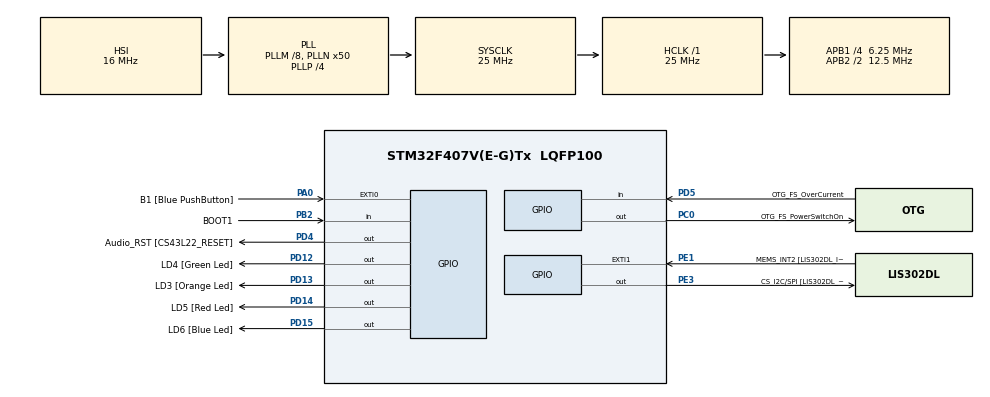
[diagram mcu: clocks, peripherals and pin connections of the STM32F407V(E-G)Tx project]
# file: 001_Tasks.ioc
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Mcu.Family=STM32F4
Mcu.Name=STM32F407V(E-G)Tx
Mcu.Package=LQFP100
NVIC.PriorityGroup=NVIC_PRIORITYGROUP_4
NVIC.TIM6_DAC_IRQn=true\:0\:0\:false\:false\:true\:false\:true\:true
NVIC.TimeBase=TIM6_DAC_IRQn
NVIC.TimeBaseIP=TIM6
PA0-WKUP.GPIO_Label=B1 [Blue PushButton]
PA0-WKUP.Signal=GPXTI0
PA10.GPIO_Label=OTG_FS_ID
PA10.GPIO_Mode=GPIO_MODE_AF_PP
PA10.GPIO_PuPd=GPIO_NOPULL
PA10.GPIO_Speed=GPIO_SPEED_FREQ_LOW
PA10.Signal=USB_OTG_FS_ID
PA11.GPIO_Label=OTG_FS_DM
PA11.GPIO_Mode=GPIO_MODE_AF_PP
PA11.GPIO_PuPd=GPIO_NOPULL
PA11.GPIO_Speed=GPIO_SPEED_FREQ_LOW
PA11.Signal=USB_OTG_FS_DM
PA12.GPIO_Label=OTG_FS_DP
PA12.GPIO_Mode=GPIO_MODE_AF_PP
PA12.GPIO_PuPd=GPIO_NOPULL
PA12.GPIO_Speed=GPIO_SPEED_FREQ_LOW
PA12.Signal=USB_OTG_FS_DP
PA13.GPIO_Label=SWDIO
PA13.Signal=SYS_JTMS-SWDIO
PA14.GPIO_Label=SWCLK
PA14.Signal=SYS_JTCK-SWCLK
PA4.GPIO_Label=I2S3_WS [CS43L22_LRCK]
PA4.GPIO_Mode=GPIO_MODE_AF_PP
PA4.GPIO_PuPd=GPIO_NOPULL
PA4.GPIO_Speed=GPIO_SPEED_FREQ_LOW
PA4.Signal=I2S3_WS
PA5.GPIO_Label=SPI1_SCK [LIS302DL_SCL/SPC]
PA5.GPIO_Mode=GPIO_MODE_AF_PP
PA5.GPIO_PuPd=GPIO_NOPULL
PA5.GPIO_Speed=GPIO_SPEED_FREQ_LOW
PA5.Signal=SPI1_SCK
PA6.GPIO_Label=SPI1_MISO [LIS302DL_SDO]
PA6.GPIO_Mode=GPIO_MODE_AF_PP
PA6.GPIO_PuPd=GPIO_NOPULL
PA6.GPIO_Speed=GPIO_SPEED_FREQ_LOW
PA6.Signal=SPI1_MISO
PA7.GPIO_Label=SPI1_MOSI [LIS302DL_SDA/SDI/SDO]
PA7.GPIO_Mode=GPIO_MODE_AF_PP
PA7.GPIO_PuPd=GPIO_NOPULL
PA7.GPIO_Speed=GPIO_SPEED_FREQ_LOW
PA7.Signal=SPI1_MOSI
PA9.GPIO_Label=VBUS_FS
PA9.GPIO_Mode=GPIO_MODE_INPUT
PA9.GPIO_PuPd=GPIO_NOPULL
PA9.Signal=USB_OTG_FS_VBUS
PB10.GPIO_Label=CLK_IN [MP45DT02_CLK]
PB10.GPIO_Mode=GPIO_MODE_AF_PP
PB10.GPIO_PuPd=GPIO_NOPULL
PB10.GPIO_Speed=GPIO_SPEED_FREQ_LOW
PB10.Signal=I2S2_CK
PB2.GPIO_Label=BOOT1
PB2.GPIO_Mode=GPIO_MODE_INPUT
PB2.GPIO_PuPd=GPIO_NOPULL
PB2.Signal=GPIO_Input
PB3.GPIO_Label=SWO
PB3.Signal=SYS_JTDO-SWO
PB6.GPIO_Label=Audio_SCL [CS43L22_SCL]
PB6.GPIO_Mode=GPIO_MODE_AF_OD
PB6.GPIO_PuPd=GPIO_NOPULL
PB6.GPIO_Speed=GPIO_SPEED_FREQ_LOW
PB6.Signal=I2C1_SCL
PB9.GPIO_Label=Audio_SDA [CS43L22_SDA]
PB9.GPIO_Mode=GPIO_MODE_AF_OD
PB9.GPIO_PuPd=GPIO_NOPULL
PB9.GPIO_Speed=GPIO_SPEED_FREQ_LOW
PB9.Signal=I2C1_SDA
PC0.GPIO_Label=OTG_FS_PowerSwitchOn
PC0.GPIO_PuPd=GPIO_NOPULL
PC0.GPIO_Speed=GPIO_SPEED_FREQ_LOW
PC0.PinState=GPIO_PIN_SET
PC0.Signal=GPIO_Output
PC10.GPIO_Label=I2S3_SCK [CS43L22_SCLK]
PC10.GPIO_Mode=GPIO_MODE_AF_PP
PC10.GPIO_PuPd=GPIO_NOPULL
PC10.GPIO_Speed=GPIO_SPEED_FREQ_LOW
PC10.Signal=I2S3_CK
PC12.GPIO_Label=I2S3_SD [CS43L22_SDIN]
PC12.GPIO_Mode=GPIO_MODE_AF_PP
PC12.GPIO_PuPd=GPIO_NOPULL
PC12.GPIO_Speed=GPIO_SPEED_FREQ_LOW
PC12.Signal=I2S3_SD
PC14-OSC32_IN.GPIO_Label=PC14-OSC32_IN
PC14-OSC32_IN.Signal=RCC_OSC32_IN
PC15-OSC32_OUT.GPIO_Label=PC15-OSC32_OUT
PC15-OSC32_OUT.Signal=RCC_OSC32_OUT
PC3.GPIO_Label=PDM_OUT [MP45DT02_DOUT]
PC3.GPIO_Mode=GPIO_MODE_AF_PP
PC3.GPIO_PuPd=GPIO_NOPULL
PC3.GPIO_Speed=GPIO_SPEED_FREQ_LOW
PC3.Signal=I2S2_SD
PC7.GPIO_Label=I2S3_MCK [CS43L22_MCLK]
PC7.GPIO_Mode=GPIO_MODE_AF_PP
PC7.GPIO_PuPd=GPIO_NOPULL
PC7.GPIO_Speed=GPIO_SPEED_FREQ_LOW
PC7.Signal=I2S3_MCK
PD12.GPIO_Label=LD4 [Green Led]
PD12.GPIO_PuPd=GPIO_NOPULL
PD12.GPIO_Speed=GPIO_SPEED_FREQ_LOW
PD12.Signal=GPIO_Output
PD13.GPIO_Label=LD3 [Orange Led]
PD13.GPIO_PuPd=GPIO_NOPULL
PD13.GPIO_Speed=GPIO_SPEED_FREQ_LOW
PD13.Signal=GPIO_Output
PD14.GPIO_Label=LD5 [Red Led]
PD14.GPIO_PuPd=GPIO_NOPULL
PD14.GPIO_Speed=GPIO_SPEED_FREQ_LOW
PD14.Signal=GPIO_Output
PD15.GPIO_Label=LD6 [Blue Led]
PD15.GPIO_PuPd=GPIO_NOPULL
PD15.GPIO_Speed=GPIO_SPEED_FREQ_LOW
PD15.Signal=GPIO_Output
PD4.GPIO_Label=Audio_RST [CS43L22_RESET]
PD4.GPIO_PuPd=GPIO_NOPULL
PD4.GPIO_Speed=GPIO_SPEED_FREQ_LOW
PD4.Signal=GPIO_Output
PD5.GPIO_Label=OTG_FS_OverCurrent
PD5.GPIO_Mode=GPIO_MODE_INPUT
PD5.GPIO_PuPd=GPIO_NOPULL
PD5.Signal=GPIO_Input
PE1.GPIO_Label=MEMS_INT2 [LIS302DL_INT2]
PE1.GPIO_ModeDefaultEXTI=GPIO_MODE_EVT_RISING
PE1.GPIO_PuPd=GPIO_NOPULL
PE1.Signal=GPXTI1
PE3.GPIO_Label=CS_I2C/SPI [LIS302DL_CS_I2C/SPI]
PE3.GPIO_PuPd=GPIO_NOPULL
PE3.GPIO_Speed=GPIO_SPEED_FREQ_LOW
PE3.Signal=GPIO_Output
PH0-OSC_IN.GPIO_Label=PH0-OSC_IN
PH0-OSC_IN.Signal=RCC_OSC_IN
PH1-OSC_OUT.GPIO_Label=PH1-OSC_OUT
PH1-OSC_OUT.Signal=RCC_OSC_OUT
ProjectManager.HeapSize=0x200
ProjectManager.StackSize=0x400
ProjectManager.TargetToolchain=STM32CubeIDE
RCC.48MHZClocksFreq_Value=14285714.285714285
RCC.AHBFreq_Value=25000000
RCC.APB1CLKDivider=RCC_HCLK_DIV4
RCC.APB1Freq_Value=6250000
RCC.APB1TimFreq_Value=12500000
RCC.APB2CLKDivider=RCC_HCLK_DIV2
RCC.APB2Freq_Value=12500000
RCC.APB2TimFreq_Value=25000000
RCC.CortexFreq_Value=25000000
RCC.HCLKFreq_Value=25000000
RCC.HSE_VALUE=8000000
RCC.HSI_VALUE=16000000
RCC.LSE_VALUE=32768
RCC.PLLM=8
RCC.PLLN=50
RCC.PLLP=RCC_PLLP_DIV4
RCC.PLLQ=7
RCC.SYSCLKFreq_VALUE=25000000
RCC.SYSCLKSource=RCC_SYSCLKSOURCE_PLLCLK
RCC.VCOOutputFreq_Value=100000000
VP_SYS_VS_tim6.Mode=TIM6
board=STM32F407G-DISC1

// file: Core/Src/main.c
/* USER CODE BEGIN Header */
/**
  ******************************************************************************
  * @file           : main.c
  * @brief          : Main program body
  ******************************************************************************
  * @attention
  *
  * Copyright (c) 2026 STMicroelectronics.
  * All rights reserved.
  *
  * This software is licensed under terms that can be found in the LICENSE file
  * in the root directory of this software component.
  * If no LICENSE file comes with this software, it is provided AS-IS.
  *
  ******************************************************************************
  */
/* USER CODE END Header */
#include "main.h"

/* USER CODE BEGIN Includes */
#include<stdio.h>
#include "FreeRTOS.h"
#include "task.h"
#include "SEGGER_SYSVIEW.h"
/* USER CODE END Includes */

/* USER CODE BEGIN PV */

#define DWT_CTRL	(*(volatile uint32_t*)0xE0001000)

/* USER CODE END PV */

void SystemClock_Config(void);
static void MX_GPIO_Init(void);
/* USER CODE BEGIN PFP */
static void task1_handler(void* parameters);
static void task2_handler(void* parameters);
/* USER CODE END PFP */

int main(void)
{

  /* USER CODE BEGIN 1 */
	TaskHandle_t task1_handle = NULL;
	TaskHandle_t task2_handle = NULL;

	BaseType_t status;
  /* USER CODE END 1 */

  /* MCU Configuration--------------------------------------------------------*/

  /* Reset of all peripherals, Initializes the Flash interface and the Systick. */
  HAL_Init();

  /* Configure the system clock */
  SystemClock_Config();

  /* Initialize all configured peripherals */
  MX_GPIO_Init();
  /* USER CODE BEGIN 2 */
  // Enable the CYCCNT counter

  DWT_CTRL |= (1 << 0);

  SEGGER_SYSVIEW_Conf();

  SEGGER_SYSVIEW_Start();

  status = xTaskCreate(task1_handler, "Task1", 200, "Hello world from Task-1", 2, &task1_handle);

  configASSERT(status == pdPASS);

  status = xTaskCreate(task2_handler, "Task2", 200, "Hello world from Task-2", 2, &task2_handle);

  configASSERT(status == pdPASS);

  //start the freeRTOS scheduler
  vTaskStartScheduler();

  //if the control comes here, then launch of the scheduler has failed due to insufficient memory
  // in the heap

  /* USER CODE END 2 */

  /* Infinite loop */
  while (1)
  {

  }
}

void SystemClock_Config(void)
{
  RCC_OscInitTypeDef RCC_OscInitStruct = {0};
  RCC_ClkInitTypeDef RCC_ClkInitStruct = {0};

  /** Configure the main internal regulator output voltage
  */
  __HAL_RCC_PWR_CLK_ENABLE();
  __HAL_PWR_VOLTAGESCALING_CONFIG(PWR_REGULATOR_VOLTAGE_SCALE1);

  /** Initializes the RCC Oscillators according to the specified parameters
  * in the RCC_OscInitTypeDef structure.
  */
  RCC_OscInitStruct.OscillatorType = RCC_OSCILLATORTYPE_HSI;
  RCC_OscInitStruct.HSIState = RCC_HSI_ON;
  RCC_OscInitStruct.HSICalibrationValue = RCC_HSICALIBRATION_DEFAULT;
  RCC_OscInitStruct.PLL.PLLState = RCC_PLL_ON;
  RCC_OscInitStruct.PLL.PLLSource = RCC_PLLSOURCE_HSI;
  RCC_OscInitStruct.PLL.PLLM = 8;
  RCC_OscInitStruct.PLL.PLLN = 50;
  RCC_OscInitStruct.PLL.PLLP = RCC_PLLP_DIV4;
  RCC_OscInitStruct.PLL.PLLQ = 7;
  if (HAL_RCC_OscConfig(&RCC_OscInitStruct) != HAL_OK)
  {
    Error_Handler();
  }

  /** Initializes the CPU, AHB and APB buses clocks
  */
  RCC_ClkInitStruct.ClockType = RCC_CLOCKTYPE_HCLK|RCC_CLOCKTYPE_SYSCLK
                              |RCC_CLOCKTYPE_PCLK1|RCC_CLOCKTYPE_PCLK2;
  RCC_ClkInitStruct.SYSCLKSource = RCC_SYSCLKSOURCE_PLLCLK;
  RCC_ClkInitStruct.AHBCLKDivider = RCC_SYSCLK_DIV1;
  RCC_ClkInitStruct.APB1CLKDivider = RCC_HCLK_DIV4;
  RCC_ClkInitStruct.APB2CLKDivider = RCC_HCLK_DIV2;

  if (HAL_RCC_ClockConfig(&RCC_ClkInitStruct, FLASH_LATENCY_0) != HAL_OK)
  {
    Error_Handler();
  }
}

static void MX_GPIO_Init(void)
{
  GPIO_InitTypeDef GPIO_InitStruct = {0};

  /* GPIO Ports Clock Enable */
  __HAL_RCC_GPIOE_CLK_ENABLE();
  __HAL_RCC_GPIOC_CLK_ENABLE();
  __HAL_RCC_GPIOH_CLK_ENABLE();
  __HAL_RCC_GPIOA_CLK_ENABLE();
  __HAL_RCC_GPIOB_CLK_ENABLE();
  __HAL_RCC_GPIOD_CLK_ENABLE();

  /*Configure GPIO pin Output Level */
  HAL_GPIO_WritePin(CS_I2C_SPI_GPIO_Port, CS_I2C_SPI_Pin, GPIO_PIN_RESET);

  /*Configure GPIO pin Output Level */
  HAL_GPIO_WritePin(OTG_FS_PowerSwitchOn_GPIO_Port, OTG_FS_PowerSwitchOn_Pin, GPIO_PIN_SET);

  /*Configure GPIO pin Output Level */
  HAL_GPIO_WritePin(GPIOD, LD4_Pin|LD3_Pin|LD5_Pin|LD6_Pin
                          |Audio_RST_Pin, GPIO_PIN_RESET);

  /*Configure GPIO pin : CS_I2C_SPI_Pin */
  GPIO_InitStruct.Pin = CS_I2C_SPI_Pin;
  GPIO_InitStruct.Mode = GPIO_MODE_OUTPUT_PP;
  GPIO_InitStruct.Pull = GPIO_NOPULL;
  GPIO_InitStruct.Speed = GPIO_SPEED_FREQ_LOW;
  HAL_GPIO_Init(CS_I2C_SPI_GPIO_Port, &GPIO_InitStruct);

  /*Configure GPIO pin : OTG_FS_PowerSwitchOn_Pin */
  GPIO_InitStruct.Pin = OTG_FS_PowerSwitchOn_Pin;
  GPIO_InitStruct.Mode = GPIO_MODE_OUTPUT_PP;
  GPIO_InitStruct.Pull = GPIO_NOPULL;
  GPIO_InitStruct.Speed = GPIO_SPEED_FREQ_LOW;
  HAL_GPIO_Init(OTG_FS_PowerSwitchOn_GPIO_Port, &GPIO_InitStruct);

  /*Configure GPIO pin : PDM_OUT_Pin */
  GPIO_InitStruct.Pin = PDM_OUT_Pin;
  GPIO_InitStruct.Mode = GPIO_MODE_AF_PP;
  GPIO_InitStruct.Pull = GPIO_NOPULL;
  GPIO_InitStruct.Speed = GPIO_SPEED_FREQ_LOW;
  GPIO_InitStruct.Alternate = GPIO_AF5_SPI2;
  HAL_GPIO_Init(PDM_OUT_GPIO_Port, &GPIO_InitStruct);

  /*Configure GPIO pin : B1_Pin */
  GPIO_InitStruct.Pin = B1_Pin;
  GPIO_InitStruct.Mode = GPIO_MODE_IT_RISING;
  GPIO_InitStruct.Pull = GPIO_NOPULL;
  HAL_GPIO_Init(B1_GPIO_Port, &GPIO_InitStruct);

  /*Configure GPIO pin : I2S3_WS_Pin */
  GPIO_InitStruct.Pin = I2S3_WS_Pin;
  GPIO_InitStruct.Mode = GPIO_MODE_AF_PP;
  GPIO_InitStruct.Pull = GPIO_NOPULL;
  GPIO_InitStruct.Speed = GPIO_SPEED_FREQ_LOW;
  GPIO_InitStruct.Alternate = GPIO_AF6_SPI3;
  HAL_GPIO_Init(I2S3_WS_GPIO_Port, &GPIO_InitStruct);

  /*Configure GPIO pins : SPI1_SCK_Pin SPI1_MISO_Pin SPI1_MOSI_Pin */
  GPIO_InitStruct.Pin = SPI1_SCK_Pin|SPI1_MISO_Pin|SPI1_MOSI_Pin;
  GPIO_InitStruct.Mode = GPIO_MODE_AF_PP;
  GPIO_InitStruct.Pull = GPIO_NOPULL;
  GPIO_InitStruct.Speed = GPIO_SPEED_FREQ_LOW;
  GPIO_InitStruct.Alternate = GPIO_AF5_SPI1;
  HAL_GPIO_Init(GPIOA, &GPIO_InitStruct);

  /*Configure GPIO pin : BOOT1_Pin */
  GPIO_InitStruct.Pin = BOOT1_Pin;
  GPIO_InitStruct.Mode = GPIO_MODE_INPUT;
  GPIO_InitStruct.Pull = GPIO_NOPULL;
  HAL_GPIO_Init(BOOT1_GPIO_Port, &GPIO_InitStruct);

  /*Configure GPIO pin : CLK_IN_Pin */
  GPIO_InitStruct.Pin = CLK_IN_Pin;
  GPIO_InitStruct.Mode = GPIO_MODE_AF_PP;
  GPIO_InitStruct.Pull = GPIO_NOPULL;
  GPIO_InitStruct.Speed = GPIO_SPEED_FREQ_LOW;
  GPIO_InitStruct.Alternate = GPIO_AF5_SPI2;
  HAL_GPIO_Init(CLK_IN_GPIO_Port, &GPIO_InitStruct);

  /*Configure GPIO pins : LD4_Pin LD3_Pin LD5_Pin LD6_Pin
                           Audio_RST_Pin */
  GPIO_InitStruct.Pin = LD4_Pin|LD3_Pin|LD5_Pin|LD6_Pin
                          |Audio_RST_Pin;
  GPIO_InitStruct.Mode = GPIO_MODE_OUTPUT_PP;
  GPIO_InitStruct.Pull = GPIO_NOPULL;
  GPIO_InitStruct.Speed = GPIO_SPEED_FREQ_LOW;
  HAL_GPIO_Init(GPIOD, &GPIO_InitStruct);

  /*Configure GPIO pins : I2S3_MCK_Pin I2S3_SCK_Pin I2S3_SD_Pin */
  GPIO_InitStruct.Pin = I2S3_MCK_Pin|I2S3_SCK_Pin|I2S3_SD_Pin;
  GPIO_InitStruct.Mode = GPIO_MODE_AF_PP;
  GPIO_InitStruct.Pull = GPIO_NOPULL;
  GPIO_InitStruct.Speed = GPIO_SPEED_FREQ_LOW;
  GPIO_InitStruct.Alternate = GPIO_AF6_SPI3;
  HAL_GPIO_Init(GPIOC, &GPIO_InitStruct);

  /*Configure GPIO pin : VBUS_FS_Pin */
  GPIO_InitStruct.Pin = VBUS_FS_Pin;
  GPIO_InitStruct.Mode = GPIO_MODE_INPUT;
  GPIO_InitStruct.Pull = GPIO_NOPULL;
  HAL_GPIO_Init(VBUS_FS_GPIO_Port, &GPIO_InitStruct);

  /*Configure GPIO pins : OTG_FS_ID_Pin OTG_FS_DM_Pin OTG_FS_DP_Pin */
  GPIO_InitStruct.Pin = OTG_FS_ID_Pin|OTG_FS_DM_Pin|OTG_FS_DP_Pin;
  GPIO_InitStruct.Mode = GPIO_MODE_AF_PP;
  GPIO_InitStruct.Pull = GPIO_NOPULL;
  GPIO_InitStruct.Speed = GPIO_SPEED_FREQ_LOW;
  GPIO_InitStruct.Alternate = GPIO_AF10_OTG_FS;
  HAL_GPIO_Init(GPIOA, &GPIO_InitStruct);

  /*Configure GPIO pin : OTG_FS_OverCurrent_Pin */
  GPIO_InitStruct.Pin = OTG_FS_OverCurrent_Pin;
  GPIO_InitStruct.Mode = GPIO_MODE_INPUT;
  GPIO_InitStruct.Pull = GPIO_NOPULL;
  HAL_GPIO_Init(OTG_FS_OverCurrent_GPIO_Port, &GPIO_InitStruct);

  /*Configure GPIO pins : Audio_SCL_Pin Audio_SDA_Pin */
  GPIO_InitStruct.Pin = Audio_SCL_Pin|Audio_SDA_Pin;
  GPIO_InitStruct.Mode = GPIO_MODE_AF_OD;
  GPIO_InitStruct.Pull = GPIO_NOPULL;
  GPIO_InitStruct.Speed = GPIO_SPEED_FREQ_LOW;
  GPIO_InitStruct.Alternate = GPIO_AF4_I2C1;
  HAL_GPIO_Init(GPIOB, &GPIO_InitStruct);

  /*Configure GPIO pin : MEMS_INT2_Pin */
  GPIO_InitStruct.Pin = MEMS_INT2_Pin;
  GPIO_InitStruct.Mode = GPIO_MODE_EVT_RISING;
  GPIO_InitStruct.Pull = GPIO_NOPULL;
  HAL_GPIO_Init(MEMS_INT2_GPIO_Port, &GPIO_InitStruct);

}

/* USER CODE BEGIN 4 */
static void task1_handler(void* parameters)
{
	while(1)
	{
		printf("%s\n",(char *) parameters);
		taskYIELD();
	}
}

static void task2_handler(void* parameters)
{
	while(1)
	{
		printf("%s\n",(char *) parameters);
		taskYIELD();
	}
}

/* USER CODE END 4 */

void HAL_TIM_PeriodElapsedCallback(TIM_HandleTypeDef *htim)
{
  if (htim->Instance == TIM6)
  {
    HAL_IncTick();
  }
}

void Error_Handler(void)
{
  __disable_irq();
  while (1)
  {
  }
}
